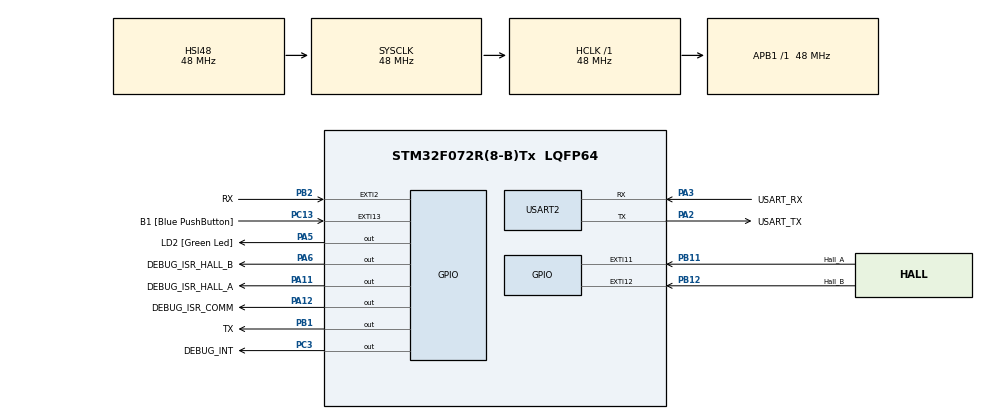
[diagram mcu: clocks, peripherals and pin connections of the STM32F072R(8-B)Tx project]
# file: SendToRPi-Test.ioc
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Mcu.Family=STM32F0
Mcu.Name=STM32F072R(8-B)Tx
Mcu.Package=LQFP64
NVIC.EXTI2_3_IRQn=true\:0\:0\:false\:false\:true\:true\:true
NVIC.EXTI4_15_IRQn=true\:2\:0\:true\:false\:true\:true\:true
NVIC.TIM2_IRQn=true\:0\:0\:false\:false\:true\:true\:true
PA11.GPIO_Label=DEBUG_ISR_HALL_A
PA11.Signal=GPIO_Output
PA12.GPIO_Label=DEBUG_ISR_COMM
PA12.Signal=GPIO_Output
PA13.GPIO_Label=TMS
PA13.Mode=Serial_Wire
PA13.Signal=SYS_SWDIO
PA14.GPIO_Label=TCK
PA14.Mode=Serial_Wire
PA14.Signal=SYS_SWCLK
PA2.GPIO_Label=USART_TX
PA2.GPIO_Mode=GPIO_MODE_AF_PP
PA2.GPIO_PuPd=GPIO_NOPULL
PA2.GPIO_Speed=GPIO_SPEED_FREQ_LOW
PA2.Mode=Asynchronous
PA2.Signal=USART2_TX
PA3.GPIO_Label=USART_RX
PA3.GPIO_Mode=GPIO_MODE_AF_PP
PA3.GPIO_PuPd=GPIO_NOPULL
PA3.GPIO_Speed=GPIO_SPEED_FREQ_LOW
PA3.Mode=Asynchronous
PA3.Signal=USART2_RX
PA5.GPIO_Label=LD2 [Green Led]
PA5.GPIO_Mode=GPIO_MODE_OUTPUT_PP
PA5.GPIO_PuPd=GPIO_NOPULL
PA5.GPIO_Speed=GPIO_SPEED_FREQ_LOW
PA5.Signal=GPIO_Output
PA6.GPIO_Label=DEBUG_ISR_HALL_B
PA6.Signal=GPIO_Output
PB1.GPIO_Label=TX
PB1.GPIO_ModeDefaultOutputPP=GPIO_MODE_OUTPUT_PP
PB1.GPIO_PuPd=GPIO_NOPULL
PB1.GPIO_Speed=GPIO_SPEED_FREQ_MEDIUM
PB1.PinState=GPIO_PIN_SET
PB1.Signal=GPIO_Output
PB11.GPIO_Label=Hall_A
PB11.GPIO_ModeDefaultEXTI=GPIO_MODE_IT_RISING_FALLING
PB11.GPIO_PuPd=GPIO_PULLDOWN
PB11.Signal=GPXTI11
PB12.GPIO_Label=Hall_B
PB12.GPIO_ModeDefaultEXTI=GPIO_MODE_IT_RISING_FALLING
PB12.GPIO_PuPd=GPIO_PULLDOWN
PB12.Signal=GPXTI12
PB2.GPIO_Label=RX
PB2.GPIO_ModeDefaultEXTI=GPIO_MODE_IT_FALLING
PB2.Signal=GPXTI2
PC13.GPIO_Label=B1 [Blue PushButton]
PC13.GPIO_ModeDefaultEXTI=GPIO_MODE_IT_FALLING
PC13.Signal=GPXTI13
PC14-OSC32_IN.Mode=LSE-External-Oscillator
PC14-OSC32_IN.Signal=RCC_OSC32_IN
PC15-OSC32_OUT.Mode=LSE-External-Oscillator
PC15-OSC32_OUT.Signal=RCC_OSC32_OUT
PC3.GPIO_Label=DEBUG_INT
PC3.GPIO_ModeDefaultOutputPP=GPIO_MODE_OUTPUT_PP
PC3.GPIO_Speed=GPIO_SPEED_FREQ_HIGH
PC3.Signal=GPIO_Output
PF0-OSC_IN.Mode=HSE-External-Clock-Source
PF0-OSC_IN.Signal=RCC_OSC_IN
PF1-OSC_OUT.Signal=RCC_OSC_OUT
ProjectManager.HeapSize=0x200
ProjectManager.StackSize=0x400
ProjectManager.TargetToolchain=STM32CubeIDE
RCC.AHBFreq_Value=48000000
RCC.APB1Freq_Value=48000000
RCC.APB1TimFreq_Value=48000000
RCC.FLatency-AdvancedSettings=FLASH_LATENCY_1
RCC.HCLKFreq_Value=48000000
RCC.PLLDivider=RCC_PREDIV_DIV2
RCC.PLLMUL=RCC_PLL_MUL12
RCC.PREFETCH_ENABLE-AdvancedSettings=1
RCC.SYSCLKFreq_VALUE=48000000
RCC.SYSCLKSource=RCC_SYSCLKSOURCE_HSI48
TIM2.Period=50
TIM2.Prescaler=47999
USART2.VirtualMode=VM_ASYNC
USART2.VirtualMode-Asynchronous=VM_ASYNC
VP_TIM2_VS_ClockSourceINT.Mode=Internal
board=NUCLEO-F072RB

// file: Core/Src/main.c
/* USER CODE BEGIN Header */
/**============================================================================
 * @file MCC_PID.cpp
 * @brief
 * @details
 *
 * - Company			: HE2B - ISIB
 * - Project			: progra STR : MCC asservissement
 * - Authors			: Bultot Geoffrey, Ishimaru Geoffrey
 *   Copyright			: All right reserved
 *   Description		: This file contain
 *   							- STM32 Configuration : I/O pins, timers, interrupts & priority
 *   							- Nbr of motor degree reading in real time
 *   							- Communication with RPi
 *   							- htim2 for communication timeout
 *=============================================================================*/

/* USER CODE END Header */
#include "main.h"

/* USER CODE BEGIN PD */
#define C_N_BITS 			(8)
#define C_N_BYTES_DATA 		(sizeof(int))
#define C_N_BYTES_TOT		(C_N_BYTES_DATA+1)	// 1 byte start + (4) de data + 1 byte checksum + 1 byte stop = 7

#define C_POS_FIRST_DATA 	(0)
#define C_POS_CHECKSUM		(C_N_BYTES_TOT-1)

//#define C_START_BYTE		(0xF4)
//#define C_STOP_BYTE			(0xAA)

//#define CONVERSION_PULSE_TO_DEGREE 1			// Gearbox ratio 1:30 --> 1 output shaft = 30 little gear rotation (LGR)
												// 2 hall sensors
												// motor of 3 pairs of poles --> 6 states/hall sensor/LGR
												// for 1 output shaft turn : 30 LGR * 2 hall sensor * 6 states/hall sensor/ LGR
/* USER CODE END PD */

TIM_HandleTypeDef htim2;

UART_HandleTypeDef huart2;

/* USER CODE BEGIN PV */
/* Data to send */
signed int pulse_counter = 0;
signed int nbr_degrees_to_send = 0;
unsigned char checksum = 0;
unsigned char bToSend[C_N_BYTES_TOT];	// byte array to send

/* To keep track of sending bit, sending byte and sending state along the clock pulses from RPi */
int tx_byte_sending;
int tx_bit_sending;
_Bool is_sending = 0;

/* Base structure for RX pin config - reused to switch quickely between GPIO_MODE_IT_FAILLING and RISING */
GPIO_InitTypeDef GPIO_InitStruct_RX =	{
												.Pin = RX_Pin,
												.Mode = GPIO_MODE_IT_FALLING,
												.Pull = GPIO_NOPULL
										};

/* Encoder state on Hall_A edge detection, index 0 is state of Hall_A, index 1 is state of Hall_B at that moment */
_Bool encoder_on_HATrig[2] = {0, 0};
/* Encoder state on Hall_B edge detection, index 0 is state of Hall_A, index 1 is state of Hall_B at that moment */
_Bool encoder_on_HBTrig[2]= {0, 0};

/* USER CODE END PV */

void SystemClock_Config(void);
static void MX_GPIO_Init(void);
static void MX_USART2_UART_Init(void);
static void MX_TIM2_Init(void);

int main(void)
{

  /* MCU Configuration--------------------------------------------------------*/

  /* Reset of all peripherals, Initializes the Flash interface and the Systick. */
  HAL_Init();

  /* USER CODE BEGIN Init */
  /* init bytes to send */
  for(int i=0; i<C_N_BYTES_TOT; i++){
	  bToSend[i] = 0x00;
  }

  /* USER CODE END Init */

  /* Configure the system clock */
  SystemClock_Config();

  /* Initialize all configured peripherals */
  MX_GPIO_Init();
  MX_USART2_UART_Init();
  MX_TIM2_Init();

  /* Infinite loop */
  while (1)
  {
	/* DOING NOTHING BUT WAITING FOR INTERRUPTS */
  }
}

void SystemClock_Config(void)
{
  RCC_OscInitTypeDef RCC_OscInitStruct = {0};
  RCC_ClkInitTypeDef RCC_ClkInitStruct = {0};
  RCC_PeriphCLKInitTypeDef PeriphClkInit = {0};

  /** Initializes the RCC Oscillators according to the specified parameters
  * in the RCC_OscInitTypeDef structure.
  */
  RCC_OscInitStruct.OscillatorType = RCC_OSCILLATORTYPE_HSI48;
  RCC_OscInitStruct.HSI48State = RCC_HSI48_ON;
  RCC_OscInitStruct.PLL.PLLState = RCC_PLL_NONE;
  if (HAL_RCC_OscConfig(&RCC_OscInitStruct) != HAL_OK)
  {
    Error_Handler();
  }
  /** Initializes the CPU, AHB and APB buses clocks
  */
  RCC_ClkInitStruct.ClockType = RCC_CLOCKTYPE_HCLK|RCC_CLOCKTYPE_SYSCLK
                              |RCC_CLOCKTYPE_PCLK1;
  RCC_ClkInitStruct.SYSCLKSource = RCC_SYSCLKSOURCE_HSI48;
  RCC_ClkInitStruct.AHBCLKDivider = RCC_SYSCLK_DIV1;
  RCC_ClkInitStruct.APB1CLKDivider = RCC_HCLK_DIV1;

  if (HAL_RCC_ClockConfig(&RCC_ClkInitStruct, FLASH_LATENCY_1) != HAL_OK)
  {
    Error_Handler();
  }
  PeriphClkInit.PeriphClockSelection = RCC_PERIPHCLK_USART2;
  PeriphClkInit.Usart2ClockSelection = RCC_USART2CLKSOURCE_PCLK1;
  if (HAL_RCCEx_PeriphCLKConfig(&PeriphClkInit) != HAL_OK)
  {
    Error_Handler();
  }
}

static void MX_TIM2_Init(void)
{

  TIM_ClockConfigTypeDef sClockSourceConfig = {0};
  TIM_MasterConfigTypeDef sMasterConfig = {0};

  htim2.Instance = TIM2;
  htim2.Init.Prescaler = 47999;
  htim2.Init.CounterMode = TIM_COUNTERMODE_UP;
  htim2.Init.Period = 50;
  htim2.Init.ClockDivision = TIM_CLOCKDIVISION_DIV1;
  htim2.Init.AutoReloadPreload = TIM_AUTORELOAD_PRELOAD_DISABLE;
  if (HAL_TIM_Base_Init(&htim2) != HAL_OK)
  {
    Error_Handler();
  }
  sClockSourceConfig.ClockSource = TIM_CLOCKSOURCE_INTERNAL;
  if (HAL_TIM_ConfigClockSource(&htim2, &sClockSourceConfig) != HAL_OK)
  {
    Error_Handler();
  }
  sMasterConfig.MasterOutputTrigger = TIM_TRGO_RESET;
  sMasterConfig.MasterSlaveMode = TIM_MASTERSLAVEMODE_DISABLE;
  if (HAL_TIMEx_MasterConfigSynchronization(&htim2, &sMasterConfig) != HAL_OK)
  {
    Error_Handler();
  }

}

static void MX_USART2_UART_Init(void)
{

  huart2.Instance = USART2;
  huart2.Init.BaudRate = 38400;
  huart2.Init.WordLength = UART_WORDLENGTH_8B;
  huart2.Init.StopBits = UART_STOPBITS_1;
  huart2.Init.Parity = UART_PARITY_NONE;
  huart2.Init.Mode = UART_MODE_TX_RX;
  huart2.Init.HwFlowCtl = UART_HWCONTROL_NONE;
  huart2.Init.OverSampling = UART_OVERSAMPLING_16;
  huart2.Init.OneBitSampling = UART_ONE_BIT_SAMPLE_DISABLE;
  huart2.AdvancedInit.AdvFeatureInit = UART_ADVFEATURE_NO_INIT;
  if (HAL_UART_Init(&huart2) != HAL_OK)
  {
    Error_Handler();
  }

}

static void MX_GPIO_Init(void)
{
  GPIO_InitTypeDef GPIO_InitStruct = {0};

  /* GPIO Ports Clock Enable */
  __HAL_RCC_GPIOC_CLK_ENABLE();
  __HAL_RCC_GPIOF_CLK_ENABLE();
  __HAL_RCC_GPIOA_CLK_ENABLE();
  __HAL_RCC_GPIOB_CLK_ENABLE();

  /*Configure GPIO pin Output Level */
  HAL_GPIO_WritePin(DEBUG_INT_GPIO_Port, DEBUG_INT_Pin, GPIO_PIN_RESET);

  /*Configure GPIO pin Output Level */
  HAL_GPIO_WritePin(GPIOA, LD2_Pin|DEBUG_ISR_HALL_B_Pin|DEBUG_ISR_HALL_A_Pin|DEBUG_ISR_COMM_Pin, GPIO_PIN_RESET);

  /*Configure GPIO pin Output Level */
  HAL_GPIO_WritePin(TX_GPIO_Port, TX_Pin, GPIO_PIN_SET);

  /*Configure GPIO pin : B1_Pin */
  GPIO_InitStruct.Pin = B1_Pin;
  GPIO_InitStruct.Mode = GPIO_MODE_IT_FALLING;
  GPIO_InitStruct.Pull = GPIO_NOPULL;
  HAL_GPIO_Init(B1_GPIO_Port, &GPIO_InitStruct);

  /*Configure GPIO pin : DEBUG_INT_Pin */
  GPIO_InitStruct.Pin = DEBUG_INT_Pin;
  GPIO_InitStruct.Mode = GPIO_MODE_OUTPUT_PP;
  GPIO_InitStruct.Pull = GPIO_NOPULL;
  GPIO_InitStruct.Speed = GPIO_SPEED_FREQ_HIGH;
  HAL_GPIO_Init(DEBUG_INT_GPIO_Port, &GPIO_InitStruct);

  /*Configure GPIO pins : LD2_Pin DEBUG_ISR_HALL_B_Pin DEBUG_ISR_HALL_A_Pin DEBUG_ISR_COMM_Pin */
  GPIO_InitStruct.Pin = LD2_Pin|DEBUG_ISR_HALL_B_Pin|DEBUG_ISR_HALL_A_Pin|DEBUG_ISR_COMM_Pin;
  GPIO_InitStruct.Mode = GPIO_MODE_OUTPUT_PP;
  GPIO_InitStruct.Pull = GPIO_NOPULL;
  GPIO_InitStruct.Speed = GPIO_SPEED_FREQ_LOW;
  HAL_GPIO_Init(GPIOA, &GPIO_InitStruct);

  /*Configure GPIO pin : TX_Pin */
  GPIO_InitStruct.Pin = TX_Pin;
  GPIO_InitStruct.Mode = GPIO_MODE_OUTPUT_PP;
  GPIO_InitStruct.Pull = GPIO_NOPULL;
  GPIO_InitStruct.Speed = GPIO_SPEED_FREQ_MEDIUM;
  HAL_GPIO_Init(TX_GPIO_Port, &GPIO_InitStruct);

  /*Configure GPIO pin : RX_Pin */
  GPIO_InitStruct.Pin = RX_Pin;
  GPIO_InitStruct.Mode = GPIO_MODE_IT_FALLING;
  GPIO_InitStruct.Pull = GPIO_NOPULL;
  HAL_GPIO_Init(RX_GPIO_Port, &GPIO_InitStruct);

  /*Configure GPIO pins : Hall_A_Pin Hall_B_Pin */
  GPIO_InitStruct.Pin = Hall_A_Pin|Hall_B_Pin;
  GPIO_InitStruct.Mode = GPIO_MODE_IT_RISING_FALLING;
  GPIO_InitStruct.Pull = GPIO_PULLDOWN;
  HAL_GPIO_Init(GPIOB, &GPIO_InitStruct);

  /* EXTI interrupt init*/
  HAL_NVIC_SetPriority(EXTI2_3_IRQn, 0, 0);
  HAL_NVIC_EnableIRQ(EXTI2_3_IRQn);

  HAL_NVIC_SetPriority(EXTI4_15_IRQn, 2, 0);
  HAL_NVIC_EnableIRQ(EXTI4_15_IRQn);

}

/* USER CODE BEGIN 4 */
/**
 * @brief IRQ Callback on : Hall_A, Hall_B and RX pins
 * @param[in] GPIO_Pin
 * @return void
 */
void HAL_GPIO_EXTI_Callback(uint16_t GPIO_Pin){
	/* General interrupt pin set */
	HAL_GPIO_WritePin(DEBUG_INT_GPIO_Port, DEBUG_INT_Pin, GPIO_PIN_SET);
	switch(GPIO_Pin){
		case RX_Pin:
			/* Debug Interrupt Pin SET to see when we enter in the callback function */
			HAL_GPIO_WritePin(DEBUG_ISR_COMM_GPIO_Port, DEBUG_ISR_COMM_Pin, GPIO_PIN_SET);
			/* First, if we're not already communicating : we are in falling edge detection */
			if(!is_sending){
				/* At this point RPi is waiting for us to reset our TX
				 * So can take the time we need (<timeout) to prep the bytes to send before responding
				 */

				/* First set is_sending flag */
				is_sending = 1;

				/* Start interrupt for timeout on communication */
				HAL_TIM_Base_Start_IT(&htim2);
			    HAL_GPIO_WritePin(LD2_GPIO_Port, LD2_Pin, GPIO_PIN_RESET);	// On-board LED will be set in case of timeout

				/* set pin on rising edge */
				GPIO_InitStruct_RX.Mode = GPIO_MODE_IT_RISING;
				HAL_GPIO_Init(RX_GPIO_Port, &GPIO_InitStruct_RX);

				/* On-board LED set : rising edge mode notifier */
				//HAL_GPIO_WritePin(LD2_GPIO_Port, LD2_Pin, GPIO_PIN_SET);

				// Reset bit & byte counters
				tx_bit_sending = 0;
				tx_byte_sending = 0;

				/* NB the following cannot move in main because it HAS to be finished
				 * before we accept to start communication
				 * Optimisation done : reduce the nbr of packets to send in order to minimize the time spent in this ISR
				 */

				/* Preparation of package to send */
				checksum = 0;
				nbr_degrees_to_send = pulse_counter;		// no conversion factor needed in this case

				for(int i = 0; i < C_N_BYTES_DATA; i++){
					bToSend[C_POS_FIRST_DATA+i] = ((nbr_degrees_to_send >> (i*8)) & 0xFF); //LSB First
					checksum += (unsigned char) bToSend[C_POS_FIRST_DATA+i];
				}

				bToSend[C_POS_CHECKSUM] = checksum;

				/* TX pin reset to tell RPi to start its clock */
				HAL_GPIO_WritePin(TX_GPIO_Port, TX_Pin, GPIO_PIN_RESET);
			}
			else{
				/* is sending data on rising edge */
				if(tx_byte_sending == C_N_BYTES_TOT)	// last byte+1 : end of communication
				{
					/* Stop interrupt for timeout on communication */
					HAL_TIM_Base_Stop_IT(&htim2);
					htim2.Instance->CNT = 0;

					/* TX pin set for ending communication */
					HAL_GPIO_WritePin(TX_GPIO_Port, TX_Pin, GPIO_PIN_SET);

					/* set RX pin on falling edge again */
					GPIO_InitStruct_RX.Mode = GPIO_MODE_IT_FALLING;
					HAL_GPIO_Init(RX_GPIO_Port, &GPIO_InitStruct_RX);

					/* On-board LED reset : falling edge mode notifier */
					//HAL_GPIO_WritePin(LD2_GPIO_Port, LD2_Pin, GPIO_PIN_RESET);

					/* Clear is_sending flag at last */
					is_sending = 0;
				}
				else{									// sending bits of each byte : communication running
					/* Set TX to the bit value tracked */
					HAL_GPIO_WritePin(TX_GPIO_Port, TX_Pin, (bToSend[tx_byte_sending] & (1<<tx_bit_sending)));

					/* Increment stuff */
					tx_bit_sending++;
					if(tx_bit_sending == 8){
						tx_bit_sending = 0;
						tx_byte_sending++;
					}
				}
			}
			/* Debug ISR pin reset : we're out of comm ISR */
			HAL_GPIO_WritePin(DEBUG_ISR_COMM_GPIO_Port, DEBUG_ISR_COMM_Pin, GPIO_PIN_RESET);
			break;

		case Hall_A_Pin:
			/* Debug ISR pin reset : we're in Hall_A interrupt */
			HAL_GPIO_WritePin(DEBUG_ISR_HALL_A_GPIO_Port, DEBUG_ISR_HALL_A_Pin, GPIO_PIN_SET);
			/* first we need to know the state of Hall_B */
			encoder_on_HATrig[1] = HAL_GPIO_ReadPin(Hall_B_GPIO_Port, Hall_B_Pin);
			encoder_on_HATrig[0] = HAL_GPIO_ReadPin(Hall_A_GPIO_Port, Hall_A_Pin);

			/* The following could be moved in main but it's still light atomic operations */
			/* increment or decrement nbr of pulse measured according to the direction of rotation :
			 * if it is rotating clock wise (CW), A always trigs before B, so they're always different */
			if(encoder_on_HATrig[0] != encoder_on_HATrig[1]){
				pulse_counter++;	// atomic operation
			}
			else{
				pulse_counter--;	// atomic operation
			}
			/* Debug ISR pin reset : we're out of Hall_A interrupt */
			HAL_GPIO_WritePin(DEBUG_ISR_HALL_A_GPIO_Port, DEBUG_ISR_HALL_A_Pin, GPIO_PIN_RESET);
			break;

		case Hall_B_Pin:
			/* Debug ISR pin reset : we're in Hall_B interrupt */
			HAL_GPIO_WritePin(DEBUG_ISR_HALL_B_GPIO_Port, DEBUG_ISR_HALL_B_Pin, GPIO_PIN_SET);
			/* first we need to know the state of Hall_A */
			encoder_on_HBTrig[0] = HAL_GPIO_ReadPin(Hall_A_GPIO_Port, Hall_A_Pin);
			encoder_on_HBTrig[1] = HAL_GPIO_ReadPin(Hall_B_GPIO_Port, Hall_B_Pin);

			/* The following could be moved in main but it's still light atomic operations */
			/* increment or decrement nbr of pulse measured according to the direction of rotation :
			 * if it is rotating clock wise (CW), B always trigs after A, so they're always equal */
			if(encoder_on_HBTrig[0] == encoder_on_HBTrig[1]){
				pulse_counter++;	// atomic operation
			}
			else{
				pulse_counter--;	// atomic operation
			}
			/* Debug ISR pin reset : we're out of Hall_B interrupt */
			HAL_GPIO_WritePin(DEBUG_ISR_HALL_B_GPIO_Port, DEBUG_ISR_HALL_B_Pin, GPIO_PIN_RESET);
			break;
	}
	/* General Interrupt debug pin reset */
	HAL_GPIO_WritePin(DEBUG_INT_GPIO_Port, DEBUG_INT_Pin, GPIO_PIN_RESET);
}

/**
 * @brief IRQ Callback on : htim2 timeout
 * @param[in] GPIO_Pin
 * @return void
 */
void HAL_TIM_PeriodElapsedCallback(TIM_HandleTypeDef* htim)
{
    HAL_GPIO_WritePin(LD2_GPIO_Port, LD2_Pin, GPIO_PIN_SET);	// On-board LED will be set in because of timeout
    /* clear is_sending flag first */
	is_sending = 0;

	/* Stop interrupt for timeout on communication */
	HAL_TIM_Base_Stop_IT(&htim2);
	htim2.Instance->CNT = 0;

	/* TX pin set for ending communication */
	HAL_GPIO_WritePin(TX_GPIO_Port, TX_Pin, GPIO_PIN_SET);

	/* set RX pin on falling edge again */
	GPIO_InitStruct_RX.Mode = GPIO_MODE_IT_FALLING;
	HAL_GPIO_Init(RX_GPIO_Port, &GPIO_InitStruct_RX);
}

/* USER CODE END 4 */

void Error_Handler(void)
{
  __disable_irq();
  while (1)
  {
  }
}

/************************ (C) COPYRIGHT STMicroelectronics *****END OF FILE****/
